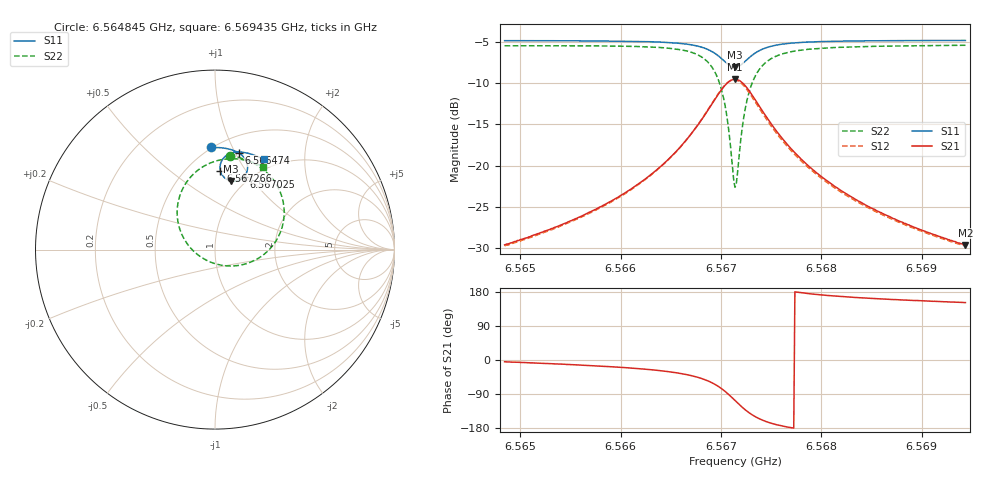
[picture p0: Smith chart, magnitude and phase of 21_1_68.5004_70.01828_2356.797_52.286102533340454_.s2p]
#  HZ  S  RI  R  50.00
! Rohde & Schwarz Vector Network Analyzer
! Rohde-Schwarz,ZNB20-2Port,1311601062101988,3.16
! Created: UTC 3/20/2024, 4:49:25 PM
! freq[Hz]  re:S11  im:S11  re:S21  im:S21  re:S12  im:S12  re:S22  im:S22
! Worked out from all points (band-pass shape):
!   401 points, 6.564845 GHz to 6.569435 GHz, reference 50 ohm
!   highest |S21| = -9.55 dB at 6.56714 GHz (marker M1); lowest = -29.6 dB at 6.569435 GHz (marker M2)
!   |S21| within 3 dB of the highest: 6.56691 GHz to 6.567369 GHz (459.2 kHz wide, 0.00699 % of centre)
!   lowest |S11| = -8.1 dB at 6.56714 GHz (marker M3), VSWR 2.29, Z = 43.2 + j39 ohm
!   |S11| at or under -10 dB: nowhere
!   |S22| runs from -22.6 to -5.4 dB; largest |S21 - S12| = 0.018
!   S11 on the Smith chart (normalised r, x): 6.564845 GHz: 0.49, +0.83; 6.566474 GHz: 0.66, +1.03; 6.567025 GHz: 0.93, +0.93; 6.567266 GHz: 0.71, +0.78; 6.569435 GHz: 0.86, +1.28
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6.5648451e9  -0.0235 0.569  0.0331 -0.00266  0.0326 -0.0034  0.0821 0.5239
6.5656139e9  0.0421 0.5663  0.0483 -0.0116  0.0475 -0.0122  0.1626 0.5041
6.5660385e9  0.0825 0.5591  0.0641 -0.0233  0.0629 -0.0241  0.2205 0.4787
6.5663827e9  0.1203 0.5454  0.0858 -0.0451  0.0846 -0.0463  0.284 0.4335
6.5664745e9  0.1316 0.5393  0.0937 -0.0557  0.0924 -0.0568  0.3047 0.4128
6.5666925e9  0.1611 0.5143  0.1161 -0.099  0.1142 -0.1013  0.3603 0.3279
6.5668531e9  0.1798 0.4758  0.1247 -0.1673  0.1212 -0.1712  0.3852 0.196
6.5669564e9  0.1779 0.4347  0.1027 -0.2395  0.0955 -0.2448  0.3457 0.0582
6.5670252e9  0.1589 0.4032  0.0548 -0.293  0.0429 -0.2969  0.2544 -0.0403
6.5670826e9  0.1273 0.3842  -0.0133 -0.3229  -0.029 -0.3221  0.1262 -0.0889
6.567117e9  0.1034 0.3807  -0.0628 -0.3252  -0.0791 -0.3204  0.036 -0.0871
6.56714e9  0.0869 0.3827  -0.0964 -0.3187  -0.1119 -0.3108  -0.0229 -0.0705
6.5671629e9  0.0712 0.3885  -0.1276 -0.3056  -0.1418 -0.295  -0.0768 -0.0424
6.5672203e9  0.0413 0.4143  -0.1873 -0.2519  -0.1959 -0.2373  -0.1734 0.0617
6.5672662e9  0.0301 0.4402  -0.2114 -0.2008  -0.215 -0.186  -0.2066 0.1551
6.567358e9  0.0331 0.4852  -0.2127 -0.1139  -0.2105 -0.1026  -0.1936 0.3067
6.5674957e9  0.0605 0.5225  -0.1758 -0.0422  -0.1715 -0.036  -0.1138 0.4268
6.5676678e9  0.0948 0.5395  -0.1327 -0.00669  -0.1292 -0.00346  -0.0252 0.4829
6.5679088e9  0.1317 0.5441  -0.095 0.00973  -0.0925 0.0113  0.0581 0.5043
6.568253e9  0.1714 0.5396  -0.0655 0.0157  -0.0639 0.0165  0.1324 0.5039
6.5686775e9  0.2108 0.5286  -0.0464 0.0168  -0.0453 0.0171  0.1932 0.4918
6.5694348e9  0.2702 0.503  -0.0291 0.0158  -0.0285 0.0159  0.2688 0.4615
